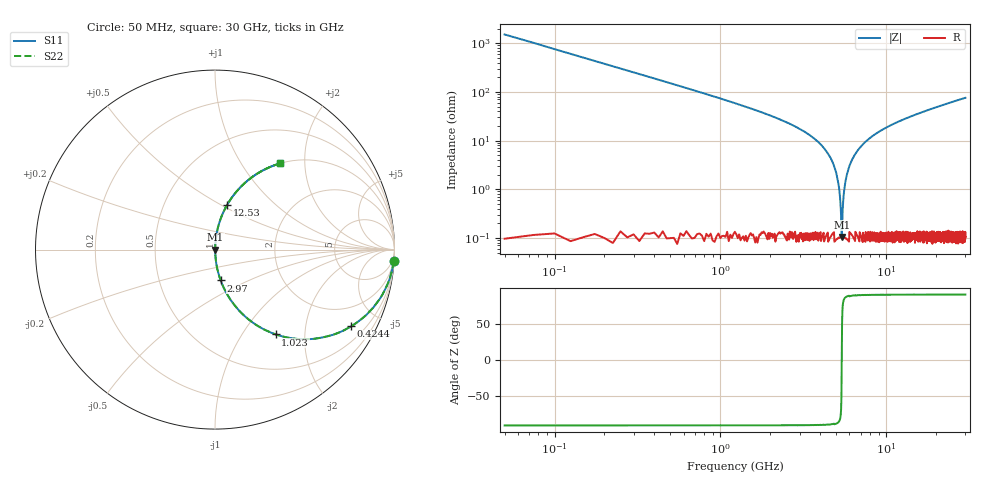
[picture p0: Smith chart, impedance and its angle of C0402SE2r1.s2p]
!	AVX Thin Film Operation 	Date: April 2014
!	Description: Accu-P® Series, Thin Film  SMD RF Capacitor
!	Part Number: 04025J2R1QBSTR
# MHZ S MA R 50
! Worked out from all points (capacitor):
!   1201 points, 50 MHz to 30 GHz, reference 50 ohm
!   read as one part in series: C = 2.1 pF near 199.8 MHz
!   lowest |Z| = 104 mohm at 5.391 GHz (marker M1)
!   series resonance near 5.391 GHz, so ESL is about 410 pH
!   S11 on the Smith chart (normalised r, x): 50 MHz: 1, -30; 424.4 MHz: 1.00, -3.55; 1.023 GHz: 1.00, -1.43; 2.97 GHz: 1.00, -0.36; 12.53 GHz: 1.00, +0.53; 30 GHz: 1.00, +1.51
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50  0.998 -3.8  0.066 86.2  0.066 86.2  0.998 -3.8
249.667  0.949 -18.3  0.313 71.7  0.313 71.7  0.949 -18.3
424.375  0.871 -29.4  0.491 60.6  0.491 60.6  0.871 -29.4
1023.375  0.581 -54.4  0.813 35.5  0.813 35.5  0.581 -54.4
1772.125  0.356 -69.0  0.933 20.9  0.933 20.9  0.356 -69.0
2970.125  0.175 -79.6  0.984 10.1  0.984 10.1  0.175 -79.6
4367.792  0.059 -85.6  0.997 3.4  0.997 3.4  0.059 -85.6
5041.667  0.019 -85.6  0.999 1.1  0.999 1.1  0.019 -85.6
5166.458  0.012 -84.2  0.999 0.7  0.999 0.7  0.012 -84.2
5291.25  0.005366 -78.1  0.999 0.3  0.999 0.3  0.005366 -78.1
5391.083  0.001079 -0.4  0.999 0.0  0.999 0.0  0.001079 -0.4
5490.917  0.005259 77.9  0.999 -0.3  0.999 -0.3  0.005259 77.9
5640.667  0.013 84.4  0.999 -0.7  0.999 -0.7  0.013 84.4
5790.417  0.02 85.8  0.999 -1.1  0.999 -1.1  0.02 85.8
6489.25  0.052 85.8  0.998 -3.0  0.998 -3.0  0.052 85.8
7837  0.107 83.3  0.993 -6.1  0.993 -6.1  0.107 83.3
10058.29  0.184 79.1  0.982 -10.6  0.982 -10.6  0.184 79.1
12529.17  0.257 74.9  0.965 -14.9  0.965 -14.9  0.257 74.9
15025  0.323 71.0  0.945 -18.8  0.945 -18.8  0.323 71.0
20016.67  0.435 64.1  0.899 -25.8  0.899 -25.8  0.435 64.1
25033.29  0.528 58.0  0.848 -31.9  0.848 -31.9  0.528 58.0
30000  0.603 52.8  0.797 -37.1  0.797 -37.1  0.603 52.8
